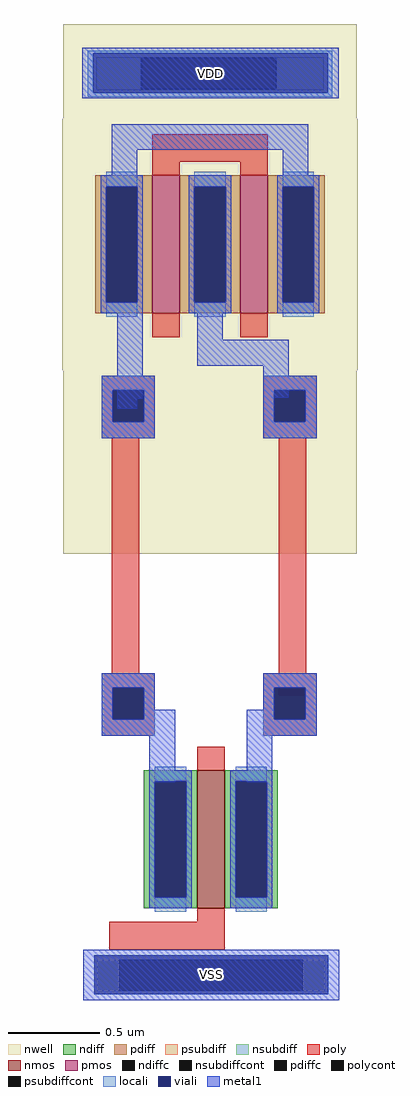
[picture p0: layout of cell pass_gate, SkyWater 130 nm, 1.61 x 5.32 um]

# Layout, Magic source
magic
tech sky130A
magscale 1 2
<< poly >>
rect 97 913 223 943
rect 53 343 83 613
rect 235 332 265 613
rect 50 80 175 85
rect 50 55 176 80
<< metal1 >>
rect 21 982 300 1037
rect 53 926 267 954
rect 53 897 81 926
rect 62 892 67 897
rect 239 890 267 926
rect 59 750 81 759
rect 59 655 87 750
rect 146 719 174 756
rect 146 691 246 719
rect 218 656 246 691
rect 59 644 81 655
rect 94 237 122 316
rect 200 237 228 316
rect 22 0 301 55
use grid  grid_0 grid
transform 1 0 61 0 1 10
box -61 -10 259 1053
use sky130_fd_pr__nfet_01v8_NDWVGB  sky130_fd_pr__nfet_01v8_NDWVGB_0
transform 1 0 161 0 1 175
box -73 -101 73 101
use sky130_fd_pr__pfet_01v8_52C9FB  sky130_fd_pr__pfet_01v8_52C9FB_0
transform 1 0 160 0 1 823
box -161 -137 161 137
use via_m1_p  via_m1_p_0 via
transform 1 0 36 0 1 612
box 6 0 64 68
use via_m1_p  via_m1_p_1
transform 1 0 36 0 1 288
box 6 0 64 68
use via_m1_p  via_m1_p_2
transform 1 0 212 0 1 288
box 6 0 64 68
use via_m1_p  via_m1_p_5
transform 1 0 212 0 1 612
box 6 0 64 68
<< labels >>
rlabel metal1 21 982 300 1037 1 VDD
rlabel metal1 22 0 301 55 1 VSS
<< end >>

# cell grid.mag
magic
tech sky130A
magscale 1 2
<< nwell >>
rect -61 476 259 1053
<< psubdiff >>
rect -24 0 0 34
rect 200 0 224 34
<< nsubdiff >>
rect -25 1016 223 1017
rect -25 982 24 1016
rect 171 982 223 1016
rect -25 981 223 982
<< psubdiffcont >>
rect 0 0 200 34
<< nsubdiffcont >>
rect 24 982 171 1016
<< locali >>
rect -34 1021 232 1024
rect -34 978 -28 1021
rect 227 978 232 1021
rect -34 974 232 978
<< viali >>
rect -28 1016 227 1021
rect -28 982 24 1016
rect 24 982 171 1016
rect 171 982 227 1016
rect -28 978 227 982
rect -27 34 228 39
rect -27 0 0 34
rect 0 0 200 34
rect 200 0 228 34
rect -27 -4 228 0
<< metal1 >>
rect -40 1021 239 1027
rect -40 978 -28 1021
rect 227 978 239 1021
rect -40 972 239 978
rect -39 39 240 45
rect -39 -4 -27 39
rect 228 -4 240 39
rect -39 -10 240 -4
<< end >>

# cell sky130_fd_pr__nfet_01v8_NDWVGB: kit device sky130_fd_pr__nfet_01v8, w 0.75 l 0.150 m 1 nf 1 diffcov 100 polycov 100 guard 0 glc 0 grc 0 gtc 0 gbc 0 tbcov 100 rlcov 100 topc 0 botc 0 poverlap 0 doverlap 1 lmin 0.15 wmin 0.42 compatible {sky130_fd_pr__nfet_01v8 sky130_fd_pr__nfet_01v8_lvt sky130_fd_bs_flash__special_sonosfet_star sky130_fd_pr__nfet_g5v0d10v5 sky130_fd_pr__nfet_05v0_nvt sky130_fd_pr__nfet_03v3_nvt} full_metal 0 viasrc 100 viadrn 100 viagate 100 viagb 0 viagr 0 viagl 0 viagt 0

# cell sky130_fd_pr__pfet_01v8_52C9FB: kit device sky130_fd_pr__pfet_01v8, w 0.75 l 0.15 m 1 nf 2 diffcov 100 polycov 100 guard 0 glc 0 grc 0 gtc 0 gbc 0 tbcov 100 rlcov 100 topc 0 botc 0 poverlap 0 doverlap 1 lmin 0.15 wmin 0.42 compatible {sky130_fd_pr__pfet_01v8 sky130_fd_pr__pfet_01v8_lvt sky130_fd_pr__pfet_01v8_hvt sky130_fd_pr__pfet_g5v0d10v5} full_metal 0 viasrc 100 viadrn 100 viagate 100 viagb 0 viagr 0 viagl 0 viagt 0

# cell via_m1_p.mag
magic
tech sky130A
<< poly >>
rect 3 26 32 34
rect 3 9 9 26
rect 26 9 32 26
rect 3 0 32 9
<< polycont >>
rect 9 9 26 26
<< locali >>
rect 3 26 32 34
rect 3 9 9 26
rect 26 9 32 26
rect 3 0 32 9
<< viali >>
rect 9 9 26 26
<< metal1 >>
rect 3 26 32 34
rect 3 9 9 26
rect 26 9 32 26
rect 3 0 32 9
<< end >>
